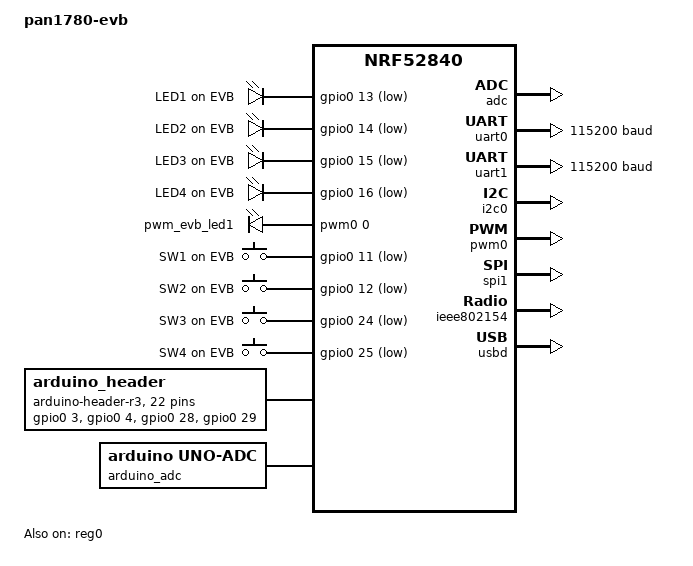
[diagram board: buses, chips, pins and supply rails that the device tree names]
/*
 * PAN1780 EVB configuration
 *
 * Copyright (c) 2022 Panasonic Industrial Devices Europe GmbH
 * SPDX-License-Identifier: Apache-2.0
 */

/dts-v1/;
#include <nordic/nrf52840_qiaa.dtsi>
#include "pan1780_evb-pinctrl.dtsi"
#include <zephyr/dt-bindings/input/input-event-codes.h>

/ {
	model = "pan1780-evb";
	compatible = "panasonic-industrial-devices-europe-gmbh,pan1780-evb";

	chosen {
		zephyr,console = &uart0;
		zephyr,shell-uart = &uart0;
		zephyr,uart-mcumgr = &uart0;
		zephyr,bt-mon-uart = &uart0;
		zephyr,bt-c2h-uart = &uart0;
		zephyr,sram = &sram0;
		zephyr,flash = &flash0;
		zephyr,code-partition = &slot0_partition;
		zephyr,ieee802154 = &ieee802154;
	};

	leds {
		compatible = "gpio-leds";
		evb_led1: evb_led_1 {
			gpios = <&gpio0 13 GPIO_ACTIVE_LOW>;
			label = "LED1 on EVB";
		};
		evb_led2: evb_led_2 {
			gpios = <&gpio0 14 GPIO_ACTIVE_LOW>;
			label = "LED2 on EVB";
		};
		evb_led3: evb_led_3 {
			gpios = <&gpio0 15 GPIO_ACTIVE_LOW>;
			label = "LED3 on EVB";
		};
		evb_led4: evb_led_4 {
			gpios = <&gpio0 16 GPIO_ACTIVE_LOW>;
			label = "LED4 on EVB";
		};
	};

	pwmleds {
		compatible = "pwm-leds";
		pwm_evb_led1: pwm_evb_led_1 {
			pwms = <&pwm0 0 PWM_MSEC(20) PWM_POLARITY_INVERTED>;
		};
	};

	buttons {
		compatible = "gpio-keys";
		evb_sw1: evb_sw_1 {
			gpios = <&gpio0 11 (GPIO_PULL_UP | GPIO_ACTIVE_LOW)>;
			label = "SW1 on EVB";
			zephyr,code = <INPUT_KEY_0>;
		};
		evb_sw2: evb_sw_2 {
			gpios = <&gpio0 12 (GPIO_PULL_UP | GPIO_ACTIVE_LOW)>;
			label = "SW2 on EVB";
			zephyr,code = <INPUT_KEY_1>;
		};
		evb_sw3: evb_sw_3 {
			gpios = <&gpio0 24 (GPIO_PULL_UP | GPIO_ACTIVE_LOW)>;
			label = "SW3 on EVB";
			zephyr,code = <INPUT_KEY_2>;
		};
		evb_sw4: evb_sw_4 {
			gpios = <&gpio0 25 (GPIO_PULL_UP | GPIO_ACTIVE_LOW)>;
			label = "SW4 on EVB";
			zephyr,code = <INPUT_KEY_3>;
		};
	};

	arduino_header: connector {
		compatible = "arduino-header-r3";
		#gpio-cells = <2>;
		gpio-map-mask = <0xffffffff 0xffffffc0>;
		gpio-map-pass-thru = <0 0x3f>;
		gpio-map = <0 0 &gpio0 3 0>,	/* A0 */
			   <1 0 &gpio0 4 0>,	/* A1 */
			   <2 0 &gpio0 28 0>,	/* A2 */
			   <3 0 &gpio0 29 0>,	/* A3 */
			   <4 0 &gpio0 30 0>,	/* A4 */
			   <5 0 &gpio0 31 0>,	/* A5 */
			   <6 0 &gpio1 1 0>,	/* D0 */
			   <7 0 &gpio1 2 0>,	/* D1 */
			   <8 0 &gpio1 3 0>,	/* D2 */
			   <9 0 &gpio1 4 0>,	/* D3 */
			   <10 0 &gpio1 5 0>,	/* D4 */
			   <11 0 &gpio1 6 0>,	/* D5 */
			   <12 0 &gpio1 7 0>,	/* D6 */
			   <13 0 &gpio1 8 0>,	/* D7 */
			   <14 0 &gpio1 10 0>,	/* D8 */
			   <15 0 &gpio1 11 0>,	/* D9 */
			   <16 0 &gpio0 12 0>,	/* D10 */
			   <17 0 &gpio0 13 0>,	/* D11 */
			   <18 0 &gpio0 14 0>,	/* D12 */
			   <19 0 &gpio0 15 0>,	/* D13 */
			   <20 0 &gpio0 26 0>,	/* D14 */
			   <21 0 &gpio0 27 0>;	/* D15 */
	};

	arduino_adc: analog-connector {
		compatible = "arduino,uno-adc";
		#io-channel-cells = <1>;
		io-channel-map = <0 &adc 1>,	/* A0 = P0.3 = AIN1 */
				 <1 &adc 2>,	/* A1 = P0.4 = AIN2 */
				 <2 &adc 4>,	/* A2 = P0.28 = AIN4 */
				 <3 &adc 5>,	/* A3 = P0.29 = AIN5 */
				 <4 &adc 6>,	/* A4 = P0.30 = AIN6 */
				 <5 &adc 7>;	/* A5 = P0.31 = AIN7 */
	};

	/* These aliases are provided for compatibility with samples */
	aliases {
		led0 = &evb_led1;
		led1 = &evb_led2;
		led2 = &evb_led3;
		led3 = &evb_led4;
		pwm-led0 = &pwm_evb_led1;
		sw0 = &evb_sw1;
		sw1 = &evb_sw2;
		sw2 = &evb_sw3;
		sw3 = &evb_sw4;
		bootloader-led0 = &evb_led1;
		watchdog0 = &wdt0;
	};
};

&reg0 {
	status = "okay";
};

&reg1 {
	regulator-initial-mode = <NRF5X_REG_MODE_DCDC>;
};

&adc {
	status = "okay";
};

&uicr {
	gpio-as-nreset;
};

&gpiote {
	status = "okay";
};

&gpio0 {
	status = "okay";
};

&gpio1 {
	status = "okay";
};

&uart0 {
	compatible = "nordic,nrf-uarte";
	status = "okay";
	current-speed = <115200>;
	pinctrl-0 = <&uart0_default>;
	pinctrl-1 = <&uart0_sleep>;
	pinctrl-names = "default", "sleep";
};

arduino_serial: &uart1 {
	status = "okay";
	current-speed = <115200>;
	pinctrl-0 = <&uart1_default>;
	pinctrl-1 = <&uart1_sleep>;
	pinctrl-names = "default", "sleep";
};

arduino_i2c: &i2c0 {
	compatible = "nordic,nrf-twi";
	status = "okay";
	pinctrl-0 = <&i2c0_default>;
	pinctrl-1 = <&i2c0_sleep>;
	pinctrl-names = "default", "sleep";
};

&i2c1 {
	compatible = "nordic,nrf-twi";
	/* Cannot be used together with spi1, so disabled by default. */
	pinctrl-0 = <&i2c1_default>;
	pinctrl-1 = <&i2c1_sleep>;
	pinctrl-names = "default", "sleep";
};

&pwm0 {
	status = "okay";
	pinctrl-0 = <&pwm0_default>;
	pinctrl-1 = <&pwm0_sleep>;
	pinctrl-names = "default", "sleep";
};

&spi0 {
	compatible = "nordic,nrf-spi";
	/* Cannot be used together with i2c0, so disabled by default. */
	pinctrl-0 = <&spi0_default>;
	pinctrl-1 = <&spi0_sleep>;
	pinctrl-names = "default", "sleep";
};

&spi1 {
	compatible = "nordic,nrf-spi";
	status = "okay";
	pinctrl-0 = <&spi1_default>;
	pinctrl-1 = <&spi1_sleep>;
	pinctrl-names = "default", "sleep";
};

&spi2 {
	compatible = "nordic,nrf-spi";
	/* Disabled by default in nrf52840.dtsi. */
	pinctrl-0 = <&spi2_default>;
	pinctrl-1 = <&spi2_sleep>;
	pinctrl-names = "default", "sleep";
};

&qspi {
	/* Disabled by default in nrf52840.dtsi. */
	pinctrl-0 = <&qspi_default>;
	pinctrl-1 = <&qspi_sleep>;
	pinctrl-names = "default", "sleep";
};

arduino_spi: &spi3 {
	status = "disabled";
	/* Cannot be used together with evb_led1, evb_led2, evb_led3, evb_sw2
	 * and pwm0 so disabled by default.
	 */
	cs-gpios = <&gpio0 12 GPIO_ACTIVE_LOW>;	/* D10 */
	pinctrl-0 = <&spi3_default>;
	pinctrl-1 = <&spi3_sleep>;
	pinctrl-names = "default", "sleep";
};

&ieee802154 {
	status = "okay";
};

&flash0 {

	partitions {
		compatible = "fixed-partitions";
		#address-cells = <1>;
		#size-cells = <1>;

		boot_partition: partition@0 {
			label = "mcuboot";
			reg = <0x000000000 0x0000C000>;
		};
		slot0_partition: partition@c000 {
			label = "image-0";
			reg = <0x0000C000 0x00067000>;
		};
		slot1_partition: partition@73000 {
			label = "image-1";
			reg = <0x00073000 0x00067000>;
		};
		scratch_partition: partition@da000 {
			label = "image-scratch";
			reg = <0x000da000 0x0001e000>;
		};
		storage_partition: partition@f8000 {
			label = "storage";
			reg = <0x000f8000 0x00008000>;
		};
	};
};

zephyr_udc0: &usbd {
	compatible = "nordic,nrf-usbd";
	status = "okay";
};
